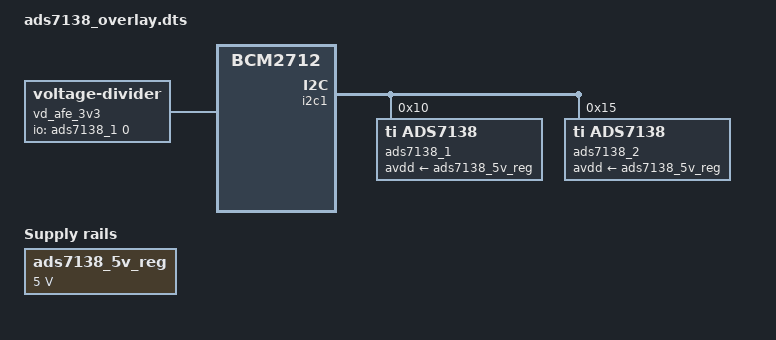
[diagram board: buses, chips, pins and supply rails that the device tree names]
rivieh@raspberrypi:~ $ cat ads7138-overlay.dts 
/dts-v1/;
/plugin/;

/ {
    compatible = "brcm,bcm2712";

    fragment@0 {
        target = <&i2c1>;
        __overlay__ {
            #address-cells = <1>;
            #size-cells = <0>;
	/* Frist ADC at address 0x10 */
	    ads7138_1: ads7138@10 {		
           // ads7128@10 {
                compatible = "ti,ads7138";
                reg = <0x10>;
		status = "okay";	
                // Reference to raspberry pi's 3.3v 
                //avdd-supply = <&rp1_vdd_3v3>;
		avdd-supply = <&ads7138_5v_reg>;

            };
	/* Second ADC at address 0x15 */
            ads7138_2: ads7138@15 {
                compatible = "ti,ads7138";
                reg = <0x15>;
                status = "okay";
                avdd-supply = <&ads7138_5v_reg>;
            };
        };
    };
fragment@1 {
    target-path = "/";
    __overlay__ {
        ads7138_5v_reg: ads7138_5v_reg {
            compatible = "regulator-fixed";
            regulator-name = "ads7138-5v";
            regulator-min-microvolt = <5000000>;
            regulator-max-microvolt = <5000000>;
            regulator-always-on;
        };
    };
};

/* Fragment 2 — define voltage divider AFE node */
    fragment@2 {
        target-path = "/";
        __overlay__ {
            vd_afe_3v3: vd_afe_3v3 {
                compatible = "voltage-divider";  /* use old style */
                io-channels = <&ads7138_1 0>;    /* first ADC, channel 0 */
                output-ohms = <33200>;           /* Rbottom */
                full-ohms   = <133200>;          /* Rtop + Rbottom */
                status = "okay";
            };
        };
    };

};


	

};
